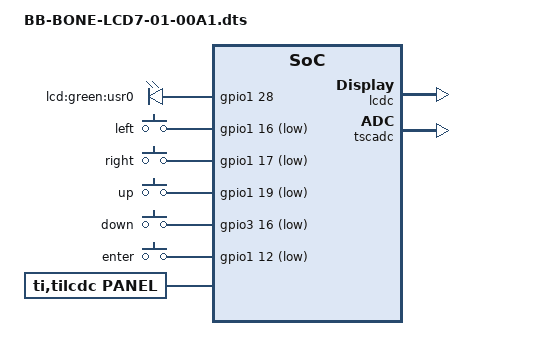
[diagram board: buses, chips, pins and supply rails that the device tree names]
/*
 * Copyright (C) 2016 Seeed Studio
 *
 * This program is free software; you can redistribute it and/or modify
 * it under the terms of the GNU General Public License version 2 as
 * published by the Free Software Foundation.
 */
/dts-v1/;
/plugin/;

#include <dt-bindings/board/am335x-bbw-bbb-base.h>
#include <dt-bindings/gpio/gpio.h>
#include <dt-bindings/pinctrl/am33xx.h>

/ {
	compatible = "ti,beaglebone", "ti,beaglebone-black", "ti,beaglebone-green";

	/* identification */
	part-number = "BB-BONE-LCD7-01";
	version = "00A1";

	/* state the resources this cape uses */
	exclusive-use =
		/* the pin header uses */
		"P8.45",	/* lcd: lcd_data0 */
		"P8.46",	/* lcd: lcd_data1 */
		"P8.43",	/* lcd: lcd_data2 */
		"P8.44",	/* lcd: lcd_data3 */
		"P8.41",	/* lcd: lcd_data4 */
		"P8.42",	/* lcd: lcd_data5 */
		"P8.39",	/* lcd: lcd_data6 */
		"P8.40",	/* lcd: lcd_data7 */
		"P8.37",	/* lcd: lcd_data8 */
		"P8.38",	/* lcd: lcd_data9 */
		"P8.36",	/* lcd: lcd_data10 */
		"P8.34",	/* lcd: lcd_data11 */
		"P8.35",	/* lcd: lcd_data12 */
		"P8.33",	/* lcd: lcd_data13 */
		"P8.31",	/* lcd: lcd_data14 */
		"P8.32",	/* lcd: lcd_data15 */
		"P8.27",	/* lcd: lcd_vsync */
		"P8.29",	/* lcd: lcd_hsync */
		"P8.28",	/* lcd: lcd_pclk */
		"P8.30",	/* lcd: lcd_ac_bias_en */
		"P9.27",	/* lcd: gpio3_19 DISPEN */
		"P9.12",	/* led: gpio1_28 LED */
		"P9.15",	/* keys: gpio1_16 LEFT */
		"P9.23",	/* keys: gpio1_17 RIGHT */
		"P9.16",	/* keys: gpio1_19 UP */
		"P9.30",	/* keys: gpio3_16 DOWN */
		"P8.12",	/* keys: gpio1_12 ENTER */

		"gpio3_19",	/* DISPEN */
		"gpio1_28",	/* LED */ 
		"gpio1_16",	/* LEFT */
		"gpio1_17",	/* RIGHT */
		"gpio1_19",	/* UP */
		"gpio3_16",	/* DOWN */
		"gpio1_12",	/* ENTER */
		"lcdc",
		"tscadc";

	fragment@0 {
		target = <&am33xx_pinmux>;
		__overlay__ {

			bb_lcd_led_pins: pinmux_bb_lcd_led_pins {
				pinctrl-single,pins = <
					BONE_P9_12 (PIN_INPUT | MUX_MODE7) /* gpmc_ben1.gpio1_28, INPUT | PULLDIS | MODE7 */
				>;
			};

			bb_lcd_lcd_pins: pinmux_bb_lcd_lcd_pins {
				pinctrl-single,pins = <
					BONE_P9_27 (PIN_OUTPUT_PULLUP | MUX_MODE7) /* mcasp0_fsr.gpio3_19 */

					BONE_P8_45 (PIN_OUTPUT | MUX_MODE0) /* lcd_data0.lcd_data0 */
					BONE_P8_46 (PIN_OUTPUT | MUX_MODE0) /* lcd_data1.lcd_data1 */
					BONE_P8_43 (PIN_OUTPUT | MUX_MODE0) /* lcd_data2.lcd_data2 */
					BONE_P8_44 (PIN_OUTPUT | MUX_MODE0) /* lcd_data3.lcd_data3 */
					BONE_P8_41 (PIN_OUTPUT | MUX_MODE0) /* lcd_data4.lcd_data4 */
					BONE_P8_42 (PIN_OUTPUT | MUX_MODE0) /* lcd_data5.lcd_data5 */
					BONE_P8_39 (PIN_OUTPUT | MUX_MODE0) /* lcd_data6.lcd_data6 */
					BONE_P8_40 (PIN_OUTPUT | MUX_MODE0) /* lcd_data7.lcd_data7 */
					BONE_P8_37 (PIN_OUTPUT | MUX_MODE0) /* lcd_data8.lcd_data8 */
					BONE_P8_38 (PIN_OUTPUT | MUX_MODE0) /* lcd_data9.lcd_data9 */
					BONE_P8_36 (PIN_OUTPUT | MUX_MODE0) /* lcd_data10.lcd_data10 */
					BONE_P8_34 (PIN_OUTPUT | MUX_MODE0) /* lcd_data11.lcd_data11 */
					BONE_P8_35 (PIN_OUTPUT | MUX_MODE0) /* lcd_data12.lcd_data12 */
					BONE_P8_33 (PIN_OUTPUT | MUX_MODE0) /* lcd_data13.lcd_data13 */
					BONE_P8_31 (PIN_OUTPUT | MUX_MODE0) /* lcd_data14.lcd_data14 */
					BONE_P8_32 (PIN_OUTPUT | MUX_MODE0) /* lcd_data15.lcd_data15 */

					BONE_P8_27 (PIN_OUTPUT | MUX_MODE0) /* lcd_vsync.lcd_vsync */
					BONE_P8_29 (PIN_OUTPUT | MUX_MODE0) /* lcd_hsync.lcd_hsync */
					BONE_P8_28 (PIN_OUTPUT | MUX_MODE0) /* lcd_pclk.lcd_pclk */
					BONE_P8_30 (PIN_OUTPUT | MUX_MODE0) /* lcd_ac_bias_en.lcd_ac_bias_en */
				>;
			};

			bb_lcd_keymap_pins: pinmux_bb_lcd_keymap_pins {
				pinctrl-single,pins = <
					BONE_P9_15 (PIN_INPUT | MUX_MODE7) /* gpmc_a0.gpio1_16 */
					BONE_P9_23 (PIN_INPUT | MUX_MODE7) /* gpmc_a1.gpio1_17 */
					BONE_P9_16 (PIN_INPUT | MUX_MODE7) /* gpmc_a3.gpio1_19 */
					BONE_P9_30 (PIN_INPUT | MUX_MODE7) /* mcasp0_axr0.gpio3_16 */
					BONE_P8_12 (PIN_INPUT | MUX_MODE7) /* GPIO.gpio1_13 */
				>;
			};
		};
	};

	fragment@1 {
		target = <&lcdc>;
		__overlay__ {
			status = "okay";
		};
	};

	fragment@2 {
		target = <&tscadc>;
		__overlay__ {

			status = "okay";
			tsc {
				ti,wires = <4>;
				ti,x-plate-resistance = <200>;
				ti,coordinate-readouts = <5>;
				ti,wire-config = <0x00 0x11 0x22 0x33>;
				ti,charge-delay = <0x400>;
			};

			adc {
				ti,adc-channels = <4 5 6 7>;
				ti,chan-step-opendelay = <0x098 0x3ffff 0x098 0x0>;
				ti,chan-step-sampledelay = <0xff 0x0 0xf 0x0>;
				ti,chan-step-avg = <16 2 4 8>;
			};
		};
	};

	fragment@3 {
		target-path="/";
		__overlay__ {

			/* avoid stupid warning */
			#address-cells = <1>;
			#size-cells = <1>;


			gpio-leds-cape-lcd {
				compatible = "gpio-leds";
				pinctrl-names = "default";
				pinctrl-0 = <&bb_lcd_led_pins>;

				lcd-led0 {
					label = "lcd:green:usr0";
					gpios = <&gpio1 28 0>;
					linux,default-trigger = "heartbeat";
					default-state = "off";
				};
			};

			gpio_keys {
				compatible = "gpio-keys";
				pinctrl-names = "default";
				pinctrl-0 = <&bb_lcd_keymap_pins>;

				#address-cells = <1>;
				#size-cells = <0>;

				button@1 {
					debounce_interval = <50>;
					linux,code = <105>;
					label = "left";
					gpios = <&gpio1 16 0x1>;
					gpio-key,wakeup;
					autorepeat;
				};
				button@2 {
					debounce_interval = <50>;
					linux,code = <106>;
					label = "right";
					gpios = <&gpio1 17 0x1>;
					gpio-key,wakeup;
					autorepeat;
				};
				button@3 {
					debounce_interval = <50>;
					linux,code = <103>;
					label = "up";
					gpios = <&gpio1 19 0x1>;
					gpio-key,wakeup;
					autorepeat;
				};
				button@4 {
					debounce_interval = <50>;
					linux,code = <108>;
					label = "down";
					gpios = <&gpio3 16 0x1>;
					gpio-key,wakeup;
					autorepeat;
				};
				button@5 {
					debounce_interval = <50>;
					linux,code = <28>;
					label = "enter";
					gpios = <&gpio1 12 0x1>;
					gpio-key,wakeup;
					autorepeat;
				};
			};

			panel {
				status = "okay";
				compatible = "ti,tilcdc,panel";
				pinctrl-names = "default";
				pinctrl-0 = <&bb_lcd_lcd_pins>;
				panel-info {
					ac-bias           = <255>;
					ac-bias-intrpt    = <0>;
					dma-burst-sz      = <16>;
					bpp               = <16>;
					fdd               = <0x80>;
					sync-edge         = <0>;
					sync-ctrl         = <1>;
					raster-order      = <0>;
					fifo-th           = <0>;
				};
				display-timings {
					native-mode = <&timing0>;

					timing0: 1024x600 {
						clock-frequency = <47500000>;
						hactive = <1024>;
						vactive = <600>;
						hfront-porch = <64>;
						hback-porch = <16>;
						hsync-len = <48>;
						vback-porch = <64>;
						vfront-porch = <16>;
						vsync-len = <3>;
					};
				};
			};
		};
	};
};
